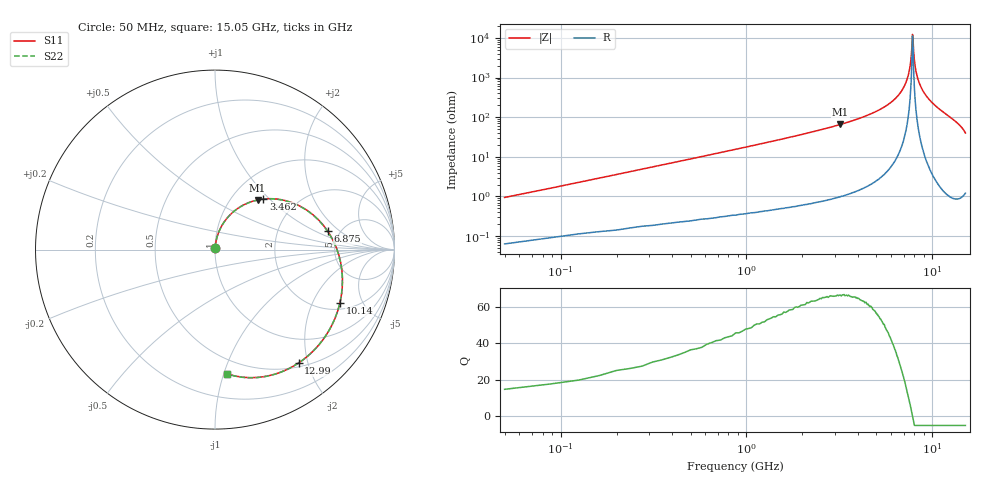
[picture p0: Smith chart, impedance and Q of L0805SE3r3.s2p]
! AVX Thin Film Operation		Date: May 2002
! Description: Accu-L® Series, Thin Film, SMD, RF Inductors
! Part Number: L08053R3CEWTR
! 50 MHz  -  15.05 GHz
! Serial Measurements
# mhz S db R 50
!	S11		S21		S12		S22
!	dB	Phase	dB	Phase	dB	Phase	dB	Phase
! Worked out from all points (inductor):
!   401 points, 50 MHz to 15.05 GHz, reference 50 ohm
!   read as 1/Y11, port 2 shorted: L = 2.86 nH near 125 MHz
!   highest Q = 66.5 at 3.2 GHz (marker M1), where L = 3.26 nH
!   self-resonance near 7.812 GHz
!   S11 on the Smith chart (normalised r, x): 50 MHz: 1.00, +0.01; 3.462 GHz: 1.38, +0.92; 6.875 GHz: 3.99, +1.38; 10.14 GHz: 2.36, -3.29; 12.99 GHz: 0.56, -1.85; 15.05 GHz: 0.38, -1.03
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50  -43.13 84.5  -0.01 -0.7  -0.01 -0.7  -43.13 84.5
162.5  -33.49 84.3  -0.01 -2.1  -0.01 -2.1  -33.49 84.3
275  -29.06 83.6  -0.02 -3.6  -0.02 -3.6  -29.06 83.6
462.5  -24.67 81.8  -0.04 -6.0  -0.04 -6.0  -24.67 81.7
687.5  -21.31 79.2  -0.06 -8.8  -0.06 -8.8  -21.31 79.2
1025  -17.95 75.3  -0.10 -13.1  -0.10 -13.1  -17.95 75.2
1437.5  -15.13 70.3  -0.17 -18.3  -0.17 -18.3  -15.13 70.3
1962.5  -12.58 64.0  -0.29 -24.8  -0.29 -24.8  -12.57 63.9
2562.5  -10.46 56.8  -0.46 -32.1  -0.46 -32.1  -10.46 56.7
3200  -8.77 49.4  -0.68 -39.7  -0.68 -39.7  -8.77 49.2
3462.5  -8.19 46.3  -0.78 -42.8  -0.78 -42.8  -8.19 46.2
5075  -5.61 28.3  -1.47 -61.0  -1.47 -61.0  -5.61 28.1
6875  -3.93 9.3  -2.35 -80.1  -2.35 -80.1  -3.93 9.1
7550  -3.49 2.5  -2.68 -87.0  -2.68 -87.0  -3.49 2.2
8825  -2.86 -10.2  -3.28 -99.7  -3.28 -99.7  -2.86 -10.5
10062.5  -2.44 -22.4  -3.80 -112.1  -3.80 -112.1  -2.44 -22.7
10137.5  -2.42 -23.2  -3.83 -112.8  -3.83 -112.8  -2.42 -23.5
11375  -2.17 -35.7  -4.21 -125.5  -4.21 -125.5  -2.17 -36.0
12575  -2.08 -48.7  -4.36 -138.7  -4.36 -138.7  -2.08 -49.0
12987.5  -2.11 -53.6  -4.34 -143.6  -4.34 -143.6  -2.11 -53.9
14150  -2.40 -69.0  -3.95 -159.4  -3.95 -159.4  -2.40 -69.3
15050  -3.15 -84.3  -3.17 -175.3  -3.17 -175.3  -3.16 -84.5
